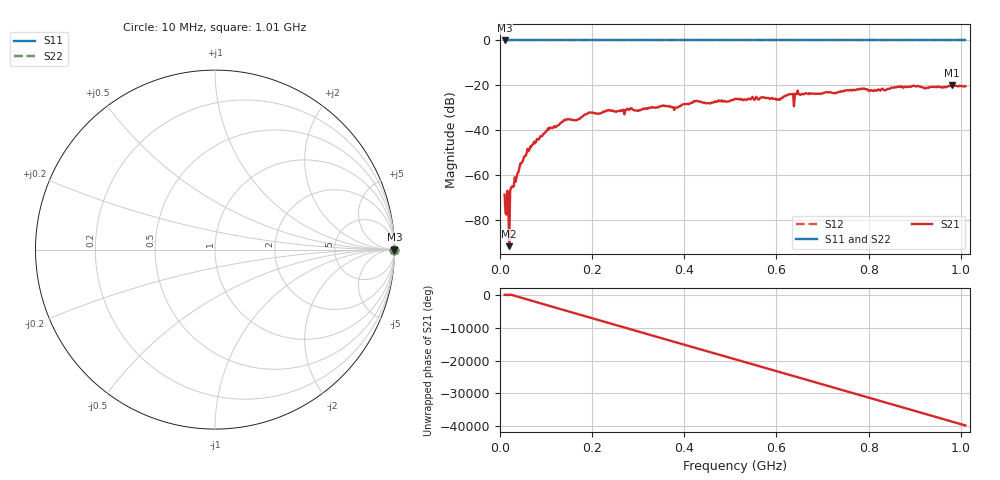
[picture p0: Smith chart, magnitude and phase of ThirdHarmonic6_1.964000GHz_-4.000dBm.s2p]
! 8/16/2025 11:37:55 PM
! C:\ANRITSUVNA\TEMP\TEMP.S2P
! CHANNEL.1
! TR.MEASUREMENT
! RAW.DATA
! RF.CORRECTION.OFF
! AVERAGING.OFF
! IF.BANDWIDTH: 5KHZ
! SWEEPTYPE:  FREQ.SWEEP(Linear)
! Reference Plane Port Info
! PORT:  PORT1  PORT2
! DISTANCE:  0  m  0  m
! TIME:  0  s  0  s
! PHASE.OFFSET:  0  deg.  0  deg.
! LOSS:  0  dB  0  dB
! REF.LOSS:  0  dB  0  dB
! REF.FREQ:  0  Hz  0  Hz
! Power Info
! POWER:  -20  dBm  -20  dBm
! EFF.POWER:  -20  dBm  -20  dBm
! SOURCE.ATTEN:  0  dB  0  dB
! TEST.ATTEN:  0  dB  0  dB
# GHZ S RI R 50.0
! FREQ.GHZ  S11RE  S11IM  S21RE  S21IM  S12RE  S12IM  S22RE  S22IM
!; PortSelection: Port_12
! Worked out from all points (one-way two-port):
!   501 points, 10 MHz to 1.01 GHz, reference 50 ohm
!   highest |S21| = -20.02 dB at 980 MHz (marker M1); lowest = -91.8 dB at 20 MHz (marker M2)
!   lowest |S11| = 0.0 dB at 10 MHz (marker M3)
!   |S11| at or under -10 dB: nowhere
!   |S22| runs from 0.0 to 0.0 dB; largest |S21 - S12| = 1.1
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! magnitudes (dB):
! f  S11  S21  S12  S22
! 10 MHz  0.0  -68.8  0.0  0.0
! 14 MHz  0.0  -77.7  0.0  0.0
! 16 MHz  0.0  -67.0  0.0  0.0
! 20 MHz  0.0  -91.8  0.0  0.0
! 28 MHz  0.0  -65.4  0.0  0.0
! 48 MHz  0.0  -54.2  0.0  0.0
! 70 MHz  0.0  -46.5  0.0  0.0
! 106 MHz  0.0  -39.6  0.0  0.0
! 142 MHz  0.0  -35.6  0.0  0.0
! 178 MHz  0.0  -34.0  0.0  0.0
! 196 MHz  0.0  -32.1  0.0  0.0
! 344 MHz  0.0  -29.8  0.0  0.0
! 382 MHz  0.0  -30.0  0.0  0.0
! 424 MHz  0.0  -27.2  0.0  0.0
! 452 MHz  0.0  -27.9  0.0  0.0
! 510 MHz  0.0  -26.1  0.0  0.0
! 604 MHz  0.0  -26.2  0.0  0.0
! 628 MHz  0.0  -24.0  0.0  0.0
! 678 MHz  0.0  -23.7  0.0  0.0
! 844 MHz  0.0  -21.6  0.0  0.0
! 980 MHz  0.0  -20.0  0.0  0.0
! 1.01 GHz  0.0  -20.4  0.0  0.0
